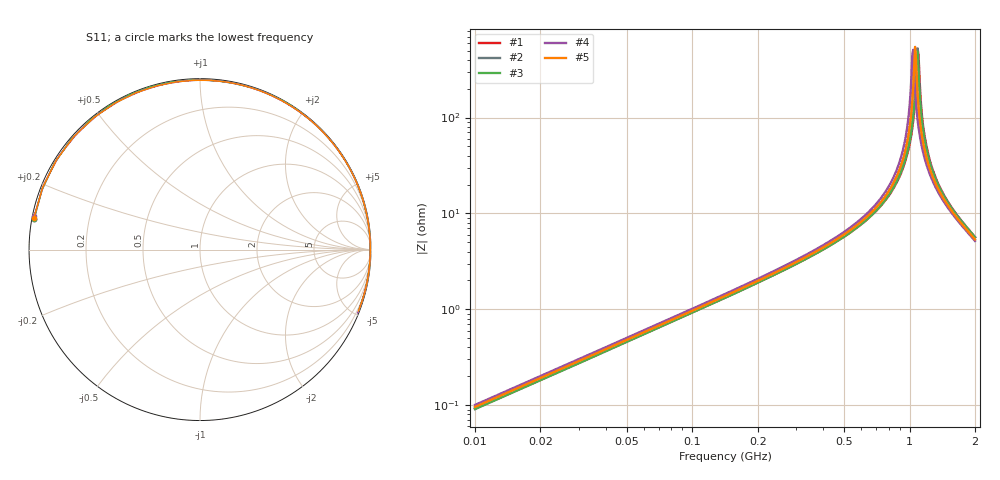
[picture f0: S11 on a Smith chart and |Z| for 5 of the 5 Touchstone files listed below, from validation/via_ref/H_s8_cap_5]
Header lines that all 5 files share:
! H_s8_cap_5: PDN loop: BGA pin field to a 0402 capacitor 5 mm away
! stackup: 8-layer 1.6 mm FR-4 (generic)
! ports: 1 IC pins
# Hz S RI R 1
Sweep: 10 MHz to 2 GHz
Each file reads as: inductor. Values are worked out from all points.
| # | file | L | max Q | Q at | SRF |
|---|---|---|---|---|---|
| 1 | cst.s1p | 1.46 nH | 204 | 150 MHz | 1.09 GHz |
| 2 | cst_fine.s1p | 1.48 nH | 200 | 150 MHz | 1.08 GHz |
| 3 | kisi.s1p | 1.45 nH | 278 | 180 MHz | 1.08 GHz |
| 4 | openems.s1p | 1.6 nH | 154 | 200 MHz | 1.03 GHz |
| 5 | openems_base.s1p | 1.52 nH | 156 | 210 MHz | 1.06 GHz |
